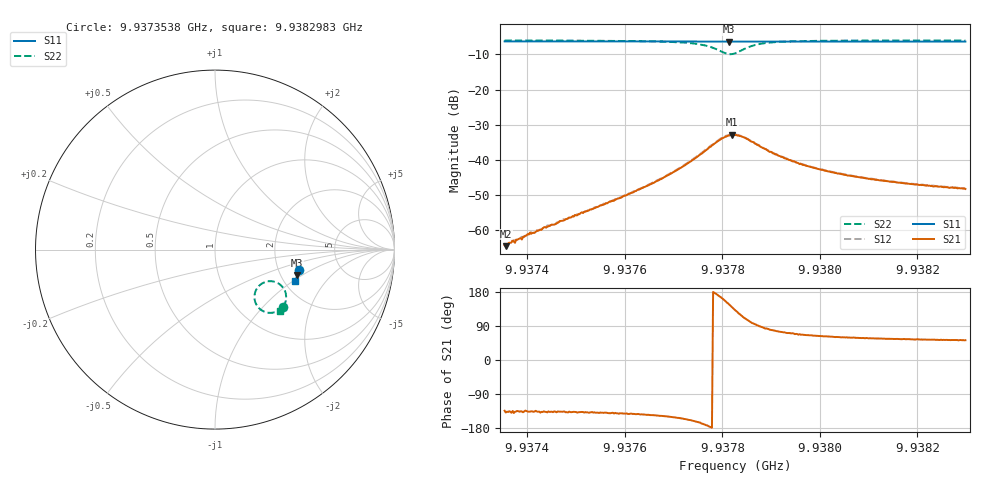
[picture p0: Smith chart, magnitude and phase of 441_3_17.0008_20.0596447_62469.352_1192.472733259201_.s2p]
#  HZ  S  RI  R  50.00
! Rohde & Schwarz Vector Network Analyzer
! Rohde-Schwarz,ZNB20-2Port,1311601062101988,3.16
! Created: UTC 3/20/2024, 11:11:52 PM
! freq[Hz]  re:S11  im:S11  re:S21  im:S21  re:S12  im:S12  re:S22  im:S22
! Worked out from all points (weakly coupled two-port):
!   401 points, 9.9373538 GHz to 9.9382983 GHz, reference 50 ohm
!   highest |S21| = -32.83 dB at 9.937819 GHz (marker M1); lowest = -64.4 dB at 9.9373562 GHz (marker M2)
!   lowest |S11| = -6.4 dB at 9.9378142 GHz (marker M3), VSWR 2.84, Z = 123 - j44.9 ohm
!   |S11| at or under -10 dB: nowhere
!   |S22| runs from -10.0 to -6.1 dB; largest |S21 - S12| = 0.001
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9.93735384e9  0.4703 -0.112  -0.000428 -0.000444  -0.000434 -0.000411  0.3809 -0.3204
9.9373562e9  0.4701 -0.1123  -0.000452 -0.000399  -0.000436 -0.000417  0.3807 -0.3203
9.93736801e9  0.4699 -0.1131  -0.000513 -0.00044  -0.000509 -0.000451  0.3795 -0.3214
9.93738454e9  0.4695 -0.1141  -0.000555 -0.000529  -0.000564 -0.00053  0.3783 -0.3228
9.93740578e9  0.4691 -0.1156  -0.000677 -0.000642  -0.000638 -0.000635  0.3765 -0.3242
9.93751203e9  0.4667 -0.1227  -0.00132 -0.00123  -0.00134 -0.00119  0.3654 -0.333
9.93759231e9  0.465 -0.128  -0.00225 -0.00185  -0.00233 -0.00185  0.3528 -0.3408
9.93767022e9  0.463 -0.1333  -0.00434 -0.00282  -0.0045 -0.00279  0.3316 -0.3494
9.93772216e9  0.4614 -0.1368  -0.00759 -0.00343  -0.00782 -0.00339  0.3024 -0.3524
9.9377623e9  0.4598 -0.1395  -0.0129 -0.00233  -0.0132 -0.00229  0.2602 -0.3383
9.93779535e9  0.458 -0.1409  -0.0189 0.0043  -0.0194 0.00484  0.2206 -0.2769
9.93781424e9  0.4574 -0.1412  -0.0186 0.0123  -0.0186 0.0132  0.2352 -0.2143
9.93781896e9  0.4575 -0.1413  -0.0176 0.0145  -0.0174 0.0151  0.2468 -0.2008
9.93782605e9  0.4575 -0.1413  -0.015 0.0168  -0.0149 0.0176  0.2687 -0.1852
9.9378473e9  0.458 -0.1423  -0.00679 0.0194  -0.00628 0.0197  0.3378 -0.1812
9.93787799e9  0.4581 -0.1446  0.000447 0.0155  0.000756 0.0157  0.3861 -0.2227
9.93790868e9  0.4578 -0.1469  0.00266 0.0117  0.00293 0.0118  0.3963 -0.2564
9.93793465e9  0.4572 -0.1488  0.00332 0.00969  0.00346 0.00963  0.3957 -0.2753
9.93798424e9  0.4561 -0.1523  0.00337 0.0071  0.00351 0.00713  0.3905 -0.2971
9.93805271e9  0.4542 -0.1568  0.00312 0.00529  0.00324 0.00532  0.3826 -0.3142
9.93814242e9  0.4518 -0.1628  0.00276 0.00409  0.00289 0.0041  0.3739 -0.3271
9.93829825e9  0.4475 -0.1727  0.00238 0.00306  0.00248 0.00309  0.3613 -0.3415
